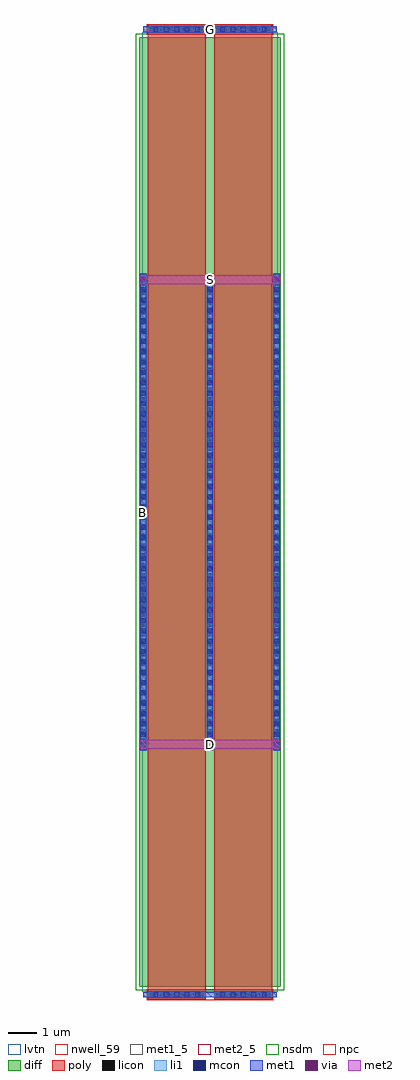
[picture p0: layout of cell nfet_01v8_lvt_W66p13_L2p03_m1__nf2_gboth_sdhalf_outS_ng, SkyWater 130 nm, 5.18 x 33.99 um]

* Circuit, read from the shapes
.subckt nfet_01v8_lvt_W66p13_L2p03_m1__nf2_gboth_sdhalf_outS_ng B D G S
XM1 D G S B sky130_fd_pr__nfet_01v8_lvt w=33.07 l=2.03 m=2
.ends

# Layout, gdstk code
import gdstk
lib = gdstk.Library(unit=1e-6, precision=1e-09)
def R(c, l, rs):  # rectangles x0, y0, x1, y1
    for r in rs: c.add(gdstk.rectangle(r[:2], r[2:], *l))
def A(c, l, x, y, w, h, nx, ny, dx, dy):  # array of equal rectangles
    R(c, l, [(x+i*dx, y+j*dy, x+i*dx+w, y+j*dy+h) for i in range(nx) for j in range(ny)])
nwell_59 = (64, 59)
diff = (65, 20)
poly = (66, 20)
licon = (66, 44)
li1 = (67, 20)
mcon = (67, 44)
met1_5 = (68, 5)
met1 = (68, 20)
via = (68, 44)
met2_5 = (69, 5)
met2 = (69, 20)
nsdm = (93, 44)
npc = (95, 20)
lvtn = (125, 44)

sky130_fd_pr__nfet_01v8_ = lib.new_cell('sky130_fd_pr__nfet_01v8_lvt_CBWLGR')
R(sky130_fd_pr__nfet_01v8_, diff, [(-2.465,-16.535,2.465,16.535)])
R(sky130_fd_pr__nfet_01v8_, poly, [(-2.175,-16.975,-0.145,16.975), (0.145,-16.975,2.175,16.975)])
A(sky130_fd_pr__nfet_01v8_, licon, -2.095, -16.895, 0.17, 0.17, 6, 2, 0.34, 33.62)
A(sky130_fd_pr__nfet_01v8_, licon, 0.225, -16.895, 0.17, 0.17, 6, 2, 0.34, 33.62)
A(sky130_fd_pr__nfet_01v8_, licon, -2.405, -8.075, 0.17, 0.17, 3, 48, 2.32, 0.34)
A(sky130_fd_pr__nfet_01v8_, li1, -2.405, -8.315, 0.17, 16.63, 3, 1, 2.32, 0)
R(sky130_fd_pr__nfet_01v8_, li1, [(-2.32,-16.895,2.32,-16.725), (-2.32,16.725,2.32,16.895)])
A(sky130_fd_pr__nfet_01v8_, mcon, -1.965, -16.895, 0.17, 0.17, 5, 2, 0.36, 33.62)
A(sky130_fd_pr__nfet_01v8_, mcon, 0.355, -16.895, 0.17, 0.17, 5, 2, 0.36, 33.62)
A(sky130_fd_pr__nfet_01v8_, mcon, -2.405, -8.185, 0.17, 0.17, 3, 46, 2.32, 0.36)
A(sky130_fd_pr__nfet_01v8_, met1, -2.435, -8.295, 0.23, 16.59, 3, 1, 2.32, 0)
R(sky130_fd_pr__nfet_01v8_, met1, [(-2.155,-16.925,-0.165,-16.895), (0.165,-16.925,2.155,-16.895), (-2.32,-16.895,2.32,-16.725), (-2.155,-16.725,-0.165,-16.695), (0.165,-16.725,2.155,-16.695), (-2.155,16.695,-0.165,16.725), (0.165,16.695,2.155,16.725), (-2.32,16.725,2.32,16.895), (-2.155,16.895,-0.165,16.925), (0.165,16.895,2.155,16.925)])
R(sky130_fd_pr__nfet_01v8_, nsdm, [(-2.59,-16.66,2.59,16.66)])
R(sky130_fd_pr__nfet_01v8_, npc, [(-2.195,-16.995,2.195,-16.625), (-2.195,16.625,2.195,16.995)])
R(sky130_fd_pr__nfet_01v8_, lvtn, [(-2.355,-16.715,2.355,16.715)])
sky130_fd_pr__nfet_01v8_.add(gdstk.Label('D0', (-2.32,0), layer=67, texttype=5))
sky130_fd_pr__nfet_01v8_.add(gdstk.Label('G', (1.16,16.81), layer=67, texttype=5))
sky130_fd_pr__nfet_01v8_.add(gdstk.Label('G', (-1.16,16.81), layer=67, texttype=5))
sky130_fd_pr__nfet_01v8_.add(gdstk.Label('S1', (0,0), layer=67, texttype=5))

nfet_01v8_lvt_w66p13_l2p = lib.new_cell('nfet_01v8_lvt_W66p13_L2p03_m1__nf2_gboth_sdhalf_outS_ng')
R(nfet_01v8_lvt_w66p13_l2p, nwell_59, [(0.05,16.925,0.15,17.025)])
R(nfet_01v8_lvt_w66p13_l2p, met1_5, [(0.145,33.67,4.785,33.9)])
R(nfet_01v8_lvt_w66p13_l2p, met1, [(2.335,8.73,2.595,9.05), (0.015,24.9,0.275,25.22), (4.655,24.9,4.915,25.22), (0.145,33.67,4.785,33.9)])
R(nfet_01v8_lvt_w66p13_l2p, via, [(2.39,8.815,2.54,8.965), (0.07,24.985,0.22,25.135), (4.71,24.985,4.86,25.135)])
R(nfet_01v8_lvt_w66p13_l2p, met2_5, [(0.01,8.73,4.92,9.05), (0.01,24.9,4.92,25.22)])
R(nfet_01v8_lvt_w66p13_l2p, met2, [(0.01,8.73,4.92,9.05), (0.01,24.9,4.92,25.22)])
nfet_01v8_lvt_w66p13_l2p.add(gdstk.Reference(sky130_fd_pr__nfet_01v8_, (2.465,16.975)))
nfet_01v8_lvt_w66p13_l2p.add(gdstk.Label('S', (2.465,25.06), layer=69, texttype=5))
nfet_01v8_lvt_w66p13_l2p.add(gdstk.Label('D', (2.465,8.89), layer=69, texttype=5))
nfet_01v8_lvt_w66p13_l2p.add(gdstk.Label('G', (2.465,33.785), layer=68, texttype=5))
nfet_01v8_lvt_w66p13_l2p.add(gdstk.Label('B', (0.1,16.975), layer=64, texttype=59))

lib.write_gds('nfet_01v8_lvt_W66p13_L2p03_m1__nf2_gboth_sdhalf_outS_ng.gds')
